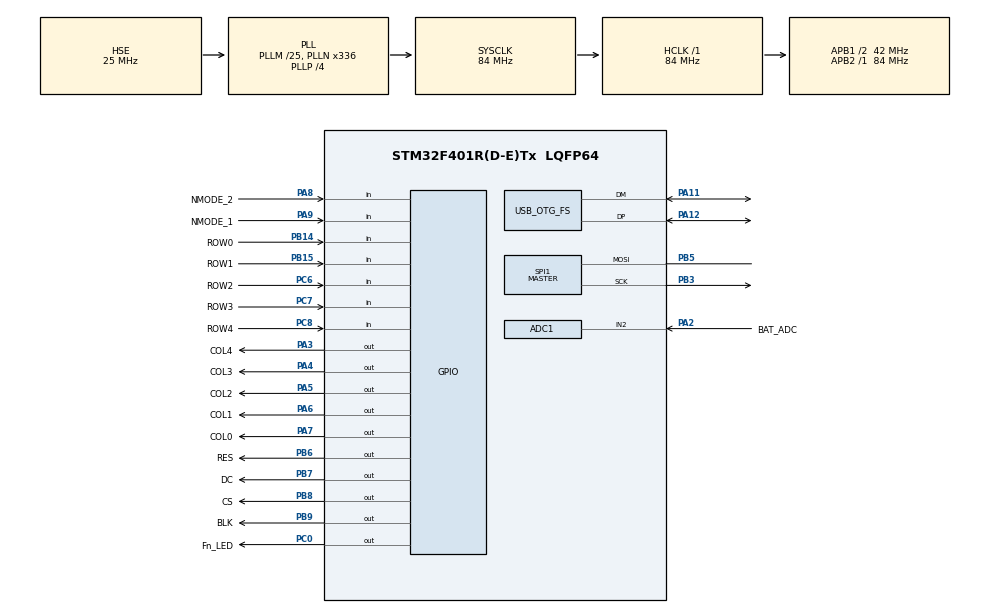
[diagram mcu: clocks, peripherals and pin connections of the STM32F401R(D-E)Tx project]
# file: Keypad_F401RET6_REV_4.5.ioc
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ADC1.Channel-0\#ChannelRegularConversion=ADC_CHANNEL_2
ADC1.NbrOfConversionFlag=1
ADC1.Rank-0\#ChannelRegularConversion=1
ADC1.SamplingTime-0\#ChannelRegularConversion=ADC_SAMPLETIME_3CYCLES
ADC1.master=1
Mcu.Family=STM32F4
Mcu.Name=STM32F401R(D-E)Tx
Mcu.Package=LQFP64
NVIC.OTG_FS_IRQn=true\:0\:0\:false\:false\:true\:false\:true\:true
NVIC.PriorityGroup=NVIC_PRIORITYGROUP_4
NVIC.TIM2_IRQn=true\:0\:0\:false\:false\:true\:true\:true\:true
PA11.Mode=Device_Only
PA11.Signal=USB_OTG_FS_DM
PA12.Mode=Device_Only
PA12.Signal=USB_OTG_FS_DP
PA13.Mode=Serial_Wire
PA13.Signal=SYS_JTMS-SWDIO
PA14.Mode=Serial_Wire
PA14.Signal=SYS_JTCK-SWCLK
PA2.GPIO_Label=BAT_ADC
PA2.Signal=ADCx_IN2
PA3.GPIO_Label=COL4
PA3.Signal=GPIO_Output
PA4.GPIO_Label=COL3
PA4.Signal=GPIO_Output
PA5.GPIO_Label=COL2
PA5.Signal=GPIO_Output
PA6.GPIO_Label=COL1
PA6.Signal=GPIO_Output
PA7.GPIO_Label=COL0
PA7.Signal=GPIO_Output
PA8.GPIO_Label=NMODE_2
PA8.GPIO_PuPd=GPIO_PULLUP
PA8.Signal=GPIO_Input
PA9.GPIO_Label=NMODE_1
PA9.GPIO_PuPd=GPIO_PULLUP
PA9.Signal=GPIO_Input
PB14.GPIO_Label=ROW0
PB14.GPIO_PuPd=GPIO_PULLUP
PB14.Signal=GPIO_Input
PB15.GPIO_Label=ROW1
PB15.GPIO_PuPd=GPIO_PULLUP
PB15.Signal=GPIO_Input
PB3.Mode=Simplex_Bidirectional_Master
PB3.Signal=SPI1_SCK
PB5.Mode=Simplex_Bidirectional_Master
PB5.Signal=SPI1_MOSI
PB6.GPIO_Label=RES
PB6.Signal=GPIO_Output
PB7.GPIO_Label=DC
PB7.Signal=GPIO_Output
PB8.GPIO_Label=CS
PB8.Signal=GPIO_Output
PB9.GPIO_Label=BLK
PB9.Signal=GPIO_Output
PC0.GPIO_Label=Fn_LED
PC0.Signal=GPIO_Output
PC6.GPIO_Label=ROW2
PC6.GPIO_PuPd=GPIO_PULLUP
PC6.Signal=GPIO_Input
PC7.GPIO_Label=ROW3
PC7.GPIO_PuPd=GPIO_PULLUP
PC7.Signal=GPIO_Input
PC8.GPIO_Label=ROW4
PC8.GPIO_PuPd=GPIO_PULLUP
PC8.Signal=GPIO_Input
PH0\ -\ OSC_IN.Mode=HSE-External-Oscillator
PH0\ -\ OSC_IN.Signal=RCC_OSC_IN
PH1\ -\ OSC_OUT.Mode=HSE-External-Oscillator
PH1\ -\ OSC_OUT.Signal=RCC_OSC_OUT
ProjectManager.HeapSize=0x200
ProjectManager.StackSize=0x400
ProjectManager.TargetToolchain=STM32CubeIDE
RCC.48MHZClocksFreq_Value=48000000
RCC.AHBFreq_Value=84000000
RCC.APB1CLKDivider=RCC_HCLK_DIV2
RCC.APB1Freq_Value=42000000
RCC.APB1TimFreq_Value=84000000
RCC.APB2Freq_Value=84000000
RCC.APB2TimFreq_Value=84000000
RCC.CortexFreq_Value=84000000
RCC.HCLKFreq_Value=84000000
RCC.HSE_VALUE=25000000
RCC.HSI_VALUE=16000000
RCC.LSE_VALUE=32768
RCC.PLLM=25
RCC.PLLN=336
RCC.PLLP=RCC_PLLP_DIV4
RCC.PLLQ=7
RCC.SYSCLKFreq_VALUE=84000000
RCC.SYSCLKSource=RCC_SYSCLKSOURCE_PLLCLK
RCC.VCOOutputFreq_Value=336000000
SH.ADCx_IN2.0=ADC1_IN2,IN2
SPI1.BaudRatePrescaler=SPI_BAUDRATEPRESCALER_4
SPI1.CLKPolarity=SPI_POLARITY_HIGH
SPI1.Direction=SPI_DIRECTION_1LINE
SPI1.Mode=SPI_MODE_MASTER
SPI1.VirtualType=VM_MASTER
TIM2.Period=599999
TIM2.Prescaler=8399
USB_DEVICE.CLASS_NAME_FS=HID
USB_DEVICE.VirtualMode-HID_FS=Hid
USB_DEVICE.VirtualModeFS=Hid_FS
USB_OTG_FS.VirtualMode=Device_Only
VP_TIM2_VS_ClockSourceINT.Mode=Internal
VP_USB_DEVICE_VS_USB_DEVICE_HID_FS.Mode=HID_FS
board=custom

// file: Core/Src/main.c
/* USER CODE BEGIN Header */
/**
  ******************************************************************************
  * @file           : main.c
  * @brief          : Main program body
  ******************************************************************************
  * @attention
  *
  * Copyright (c) 2024 STMicroelectronics.
  * All rights reserved.
  *
  * This software is licensed under terms that can be found in the LICENSE file
  * in the root directory of this software component.
  * If no LICENSE file comes with this software, it is provided AS-IS.
  *
  ******************************************************************************
  */
/* USER CODE END Header */
#include "main.h"
#include "usb_device.h"

/* USER CODE BEGIN Includes */
#include "usbd_hid.h"
#include "keypadMode.h"
#include "readKeypad.h"
#include "hidKeypad.h"
#include "st7789.h"
#include "calculator.h"
#include "readBattery.h"

/* USER CODE END Includes */

/* USER CODE BEGIN PD */
//#define MAX_LCD_ROW_LENGTH 15
#define MAX_BUFFER_SIZE 74	//4 Line

/* USER CODE END PD */

ADC_HandleTypeDef hadc1;

SPI_HandleTypeDef hspi1;

TIM_HandleTypeDef htim2;

/* USER CODE BEGIN PV */
uint8_t mode1Key;
uint8_t nCursor = 0;
uint8_t prevMode = 0;
int fnMode = 0;
char mode2Key = 0;
char buffer[MAX_BUFFER_SIZE + 1] = "";
char caInput[MAX_BUFFER_SIZE + 1];

/* USER CODE END PV */

void SystemClock_Config(void);
static void MX_GPIO_Init(void);
static void MX_SPI1_Init(void);
static void MX_ADC1_Init(void);
static void MX_TIM2_Init(void);

int main(void)
{

  /* MCU Configuration--------------------------------------------------------*/

  /* Reset of all peripherals, Initializes the Flash interface and the Systick. */
  HAL_Init();

  /* Configure the system clock */
  SystemClock_Config();

  /* Initialize all configured peripherals */
  MX_GPIO_Init();
  MX_SPI1_Init();
  MX_USB_DEVICE_Init();
  MX_ADC1_Init();
  MX_TIM2_Init();
  /* USER CODE BEGIN 2 */
  ST7789_Init();
  HAL_TIM_Base_Start_IT(&htim2);

  /* USER CODE END 2 */

  /* Infinite loop */
  /* USER CODE BEGIN WHILE */
  while (1)
  {
	  int curMode = keypadMode_read();

	  if (curMode != prevMode)
	  {
		  if((prevMode == 2 )&& (curMode == 1))
		  {
			  HAL_GPIO_WritePin(BLK_PORT, BLK_PIN, GPIO_PIN_RESET);
		  }

		  ST7789_Fill_Color(BLACK);
		  prevMode = curMode;
		  buffer[0] = '\0';
		  nCursor = 0;
		  fnMode = 0;
		  printBattery();
	  }

	  if(fnMode == 0)
		  ST7789_WriteString(250, 5, "  ", Font_7x10, BLACK, BLACK);
	  else
		  ST7789_WriteString(250, 5, "Fn", Font_7x10, GREEN, BLACK);

	  if (curMode == 1)	//Mode1 (Keypad)
	  {
		  HAL_GPIO_WritePin(BLK_PORT, BLK_PIN, GPIO_PIN_RESET);

		  mode1Key = readKeypad_run ();

		  if (mode1Key != 0x01)
		  {
			  hidKeypad_sandKey(mode1Key);
		  }
	  }
	  else if (curMode == 2)	//Mode_2 (Calculator)
	  {
		  HAL_GPIO_WritePin(BLK_PORT, BLK_PIN, GPIO_PIN_SET);

		  ST7789_WriteString(10, 20, ">>", Font_16x26, WHITE, BLACK);

		  mode2Key = readKeypad_run();

		  if (mode2Key != 0xFF)
		  {
			  if (mode2Key == 'B') // Backspace
			  {
			      if (nCursor > 0)
			      {
			          nCursor--;

			          if (nCursor < 16)
			          {
			              ST7789_WriteString(50 + nCursor * 16, 20, " ", Font_16x26, BLACK, BLACK);
			          }
			          else if (16 <= nCursor && nCursor < 35)
			          {
			              ST7789_WriteString((nCursor - 16) * 16, 46, " ", Font_16x26, BLACK, BLACK);
			          }
			          else if (35 <= nCursor && nCursor < 54)
			          {
			              ST7789_WriteString((nCursor - 35) * 16, 72, " ", Font_16x26, BLACK, BLACK);
			          }
			          else if (54 <= nCursor && nCursor < 73)
			          {
			              ST7789_WriteString((nCursor - 54) * 16, 96, " ", Font_16x26, BLACK, BLACK);
			          }

			          buffer[nCursor] = '\0';
			      }
			  }
			  else if (mode2Key == 'E')		//Esc
			  {
				  ST7789_Fill_Color(BLACK);
				  HAL_Delay(100);
				  buffer[0] = '\0';
				  nCursor = 0;
				  printBattery();
			  }
			  else if (mode2Key == '=')
			  {
				  memcpy(caInput, buffer, sizeof(buffer));

				  calculator_run(caInput);

				  ST7789_WriteString(10, 130, "=", Font_16x26, WHITE, BLACK);
				  ST7789_WriteString(35, 130, caInput, Font_16x26, WHITE, BLACK);
			  }
			  else if ((fnMode == 0)&&((mode2Key == '/')||(mode2Key == '*')||(mode2Key == '-')))	//Fn=0 -> /, *, -
			  {
				  if (nCursor < MAX_BUFFER_SIZE - 1)
			      {
					  buffer[nCursor++] = mode2Key;
			          buffer[nCursor] = '\0';
			      }
			  }
			  else if ((fnMode == 1)&&((mode2Key == '/')||(mode2Key == '*')||(mode2Key == '-')))	//Fn=1 -> tri
			  {
				  if (nCursor < MAX_BUFFER_SIZE - 4)
				  {
					  if (mode2Key == '/')
				      {
						  buffer[nCursor++] = 's';
				          buffer[nCursor++] = 'i';
				          buffer[nCursor++] = 'n';
				      }
				      else if (mode2Key == '*')
				      {
				          buffer[nCursor++] = 'c';
				          buffer[nCursor++] = 'o';
				          buffer[nCursor++] = 's';
				      }
				      else if (mode2Key == '-')
				      {
				          buffer[nCursor++] = 't';
				          buffer[nCursor++] = 'a';
				          buffer[nCursor++] = 'n';
				      }
				      buffer[nCursor] = '\0';
				  }
			  }
			  else if (mode2Key == 'F')		//Fn
			  {
				  fnMode = !fnMode;
			  }
			  else if (mode2Key == 'R')		//Rev
			  {
			  }
			  else
			  {
				  if (nCursor < MAX_BUFFER_SIZE - 1)
			      {
					  buffer[nCursor++] = mode2Key;
			          buffer[nCursor] = '\0';
			      }
			  }

			  ST7789_WriteString(50, 20, buffer, Font_16x26, WHITE, BLACK);
		  }
	  }
	  else
	  {
		  HAL_GPIO_WritePin(BLK_PORT, BLK_PIN, GPIO_PIN_RESET);
	  }

    /* USER CODE END WHILE */

  }
}

void SystemClock_Config(void)
{
  RCC_OscInitTypeDef RCC_OscInitStruct = {0};
  RCC_ClkInitTypeDef RCC_ClkInitStruct = {0};

  /** Configure the main internal regulator output voltage
  */
  __HAL_RCC_PWR_CLK_ENABLE();
  __HAL_PWR_VOLTAGESCALING_CONFIG(PWR_REGULATOR_VOLTAGE_SCALE2);

  /** Initializes the RCC Oscillators according to the specified parameters
  * in the RCC_OscInitTypeDef structure.
  */
  RCC_OscInitStruct.OscillatorType = RCC_OSCILLATORTYPE_HSE;
  RCC_OscInitStruct.HSEState = RCC_HSE_ON;
  RCC_OscInitStruct.PLL.PLLState = RCC_PLL_ON;
  RCC_OscInitStruct.PLL.PLLSource = RCC_PLLSOURCE_HSE;
  RCC_OscInitStruct.PLL.PLLM = 25;
  RCC_OscInitStruct.PLL.PLLN = 336;
  RCC_OscInitStruct.PLL.PLLP = RCC_PLLP_DIV4;
  RCC_OscInitStruct.PLL.PLLQ = 7;
  if (HAL_RCC_OscConfig(&RCC_OscInitStruct) != HAL_OK)
  {
    Error_Handler();
  }

  /** Initializes the CPU, AHB and APB buses clocks
  */
  RCC_ClkInitStruct.ClockType = RCC_CLOCKTYPE_HCLK|RCC_CLOCKTYPE_SYSCLK
                              |RCC_CLOCKTYPE_PCLK1|RCC_CLOCKTYPE_PCLK2;
  RCC_ClkInitStruct.SYSCLKSource = RCC_SYSCLKSOURCE_PLLCLK;
  RCC_ClkInitStruct.AHBCLKDivider = RCC_SYSCLK_DIV1;
  RCC_ClkInitStruct.APB1CLKDivider = RCC_HCLK_DIV2;
  RCC_ClkInitStruct.APB2CLKDivider = RCC_HCLK_DIV1;

  if (HAL_RCC_ClockConfig(&RCC_ClkInitStruct, FLASH_LATENCY_2) != HAL_OK)
  {
    Error_Handler();
  }
}

static void MX_ADC1_Init(void)
{

  ADC_ChannelConfTypeDef sConfig = {0};

  /** Configure the global features of the ADC (Clock, Resolution, Data Alignment and number of conversion)
  */
  hadc1.Instance = ADC1;
  hadc1.Init.ClockPrescaler = ADC_CLOCK_SYNC_PCLK_DIV4;
  hadc1.Init.Resolution = ADC_RESOLUTION_12B;
  hadc1.Init.ScanConvMode = DISABLE;
  hadc1.Init.ContinuousConvMode = DISABLE;
  hadc1.Init.DiscontinuousConvMode = DISABLE;
  hadc1.Init.ExternalTrigConvEdge = ADC_EXTERNALTRIGCONVEDGE_NONE;
  hadc1.Init.ExternalTrigConv = ADC_SOFTWARE_START;
  hadc1.Init.DataAlign = ADC_DATAALIGN_RIGHT;
  hadc1.Init.NbrOfConversion = 1;
  hadc1.Init.DMAContinuousRequests = DISABLE;
  hadc1.Init.EOCSelection = ADC_EOC_SINGLE_CONV;
  if (HAL_ADC_Init(&hadc1) != HAL_OK)
  {
    Error_Handler();
  }

  /** Configure for the selected ADC regular channel its corresponding rank in the sequencer and its sample time.
  */
  sConfig.Channel = ADC_CHANNEL_2;
  sConfig.Rank = 1;
  sConfig.SamplingTime = ADC_SAMPLETIME_3CYCLES;
  if (HAL_ADC_ConfigChannel(&hadc1, &sConfig) != HAL_OK)
  {
    Error_Handler();
  }

}

static void MX_SPI1_Init(void)
{

  /* SPI1 parameter configuration*/
  hspi1.Instance = SPI1;
  hspi1.Init.Mode = SPI_MODE_MASTER;
  hspi1.Init.Direction = SPI_DIRECTION_1LINE;
  hspi1.Init.DataSize = SPI_DATASIZE_8BIT;
  hspi1.Init.CLKPolarity = SPI_POLARITY_HIGH;
  hspi1.Init.CLKPhase = SPI_PHASE_1EDGE;
  hspi1.Init.NSS = SPI_NSS_SOFT;
  hspi1.Init.BaudRatePrescaler = SPI_BAUDRATEPRESCALER_4;
  hspi1.Init.FirstBit = SPI_FIRSTBIT_MSB;
  hspi1.Init.TIMode = SPI_TIMODE_DISABLE;
  hspi1.Init.CRCCalculation = SPI_CRCCALCULATION_DISABLE;
  hspi1.Init.CRCPolynomial = 10;
  if (HAL_SPI_Init(&hspi1) != HAL_OK)
  {
    Error_Handler();
  }

}

static void MX_TIM2_Init(void)
{

  TIM_ClockConfigTypeDef sClockSourceConfig = {0};
  TIM_MasterConfigTypeDef sMasterConfig = {0};

  htim2.Instance = TIM2;
  htim2.Init.Prescaler = 8399;
  htim2.Init.CounterMode = TIM_COUNTERMODE_UP;
  htim2.Init.Period = 599999;
  htim2.Init.ClockDivision = TIM_CLOCKDIVISION_DIV1;
  htim2.Init.AutoReloadPreload = TIM_AUTORELOAD_PRELOAD_DISABLE;
  if (HAL_TIM_Base_Init(&htim2) != HAL_OK)
  {
    Error_Handler();
  }
  sClockSourceConfig.ClockSource = TIM_CLOCKSOURCE_INTERNAL;
  if (HAL_TIM_ConfigClockSource(&htim2, &sClockSourceConfig) != HAL_OK)
  {
    Error_Handler();
  }
  sMasterConfig.MasterOutputTrigger = TIM_TRGO_RESET;
  sMasterConfig.MasterSlaveMode = TIM_MASTERSLAVEMODE_DISABLE;
  if (HAL_TIMEx_MasterConfigSynchronization(&htim2, &sMasterConfig) != HAL_OK)
  {
    Error_Handler();
  }

}

static void MX_GPIO_Init(void)
{
  GPIO_InitTypeDef GPIO_InitStruct = {0};

  /* GPIO Ports Clock Enable */
  __HAL_RCC_GPIOH_CLK_ENABLE();
  __HAL_RCC_GPIOC_CLK_ENABLE();
  __HAL_RCC_GPIOA_CLK_ENABLE();
  __HAL_RCC_GPIOB_CLK_ENABLE();

  /*Configure GPIO pin Output Level */
  HAL_GPIO_WritePin(Fn_LED_GPIO_Port, Fn_LED_Pin, GPIO_PIN_RESET);

  /*Configure GPIO pin Output Level */
  HAL_GPIO_WritePin(GPIOA, COL4_Pin|COL3_Pin|COL2_Pin|COL1_Pin
                          |COL0_Pin, GPIO_PIN_RESET);

  /*Configure GPIO pin Output Level */
  HAL_GPIO_WritePin(GPIOB, RES_Pin|DC_Pin|CS_Pin|BLK_Pin, GPIO_PIN_RESET);

  /*Configure GPIO pin : Fn_LED_Pin */
  GPIO_InitStruct.Pin = Fn_LED_Pin;
  GPIO_InitStruct.Mode = GPIO_MODE_OUTPUT_PP;
  GPIO_InitStruct.Pull = GPIO_NOPULL;
  GPIO_InitStruct.Speed = GPIO_SPEED_FREQ_LOW;
  HAL_GPIO_Init(Fn_LED_GPIO_Port, &GPIO_InitStruct);

  /*Configure GPIO pins : COL4_Pin COL3_Pin COL2_Pin COL1_Pin
                           COL0_Pin */
  GPIO_InitStruct.Pin = COL4_Pin|COL3_Pin|COL2_Pin|COL1_Pin
                          |COL0_Pin;
  GPIO_InitStruct.Mode = GPIO_MODE_OUTPUT_PP;
  GPIO_InitStruct.Pull = GPIO_NOPULL;
  GPIO_InitStruct.Speed = GPIO_SPEED_FREQ_LOW;
  HAL_GPIO_Init(GPIOA, &GPIO_InitStruct);

  /*Configure GPIO pins : ROW0_Pin ROW1_Pin */
  GPIO_InitStruct.Pin = ROW0_Pin|ROW1_Pin;
  GPIO_InitStruct.Mode = GPIO_MODE_INPUT;
  GPIO_InitStruct.Pull = GPIO_PULLUP;
  HAL_GPIO_Init(GPIOB, &GPIO_InitStruct);

  /*Configure GPIO pins : ROW2_Pin ROW3_Pin ROW4_Pin */
  GPIO_InitStruct.Pin = ROW2_Pin|ROW3_Pin|ROW4_Pin;
  GPIO_InitStruct.Mode = GPIO_MODE_INPUT;
  GPIO_InitStruct.Pull = GPIO_PULLUP;
  HAL_GPIO_Init(GPIOC, &GPIO_InitStruct);

  /*Configure GPIO pins : NMODE_2_Pin NMODE_1_Pin */
  GPIO_InitStruct.Pin = NMODE_2_Pin|NMODE_1_Pin;
  GPIO_InitStruct.Mode = GPIO_MODE_INPUT;
  GPIO_InitStruct.Pull = GPIO_PULLUP;
  HAL_GPIO_Init(GPIOA, &GPIO_InitStruct);

  /*Configure GPIO pins : RES_Pin DC_Pin CS_Pin BLK_Pin */
  GPIO_InitStruct.Pin = RES_Pin|DC_Pin|CS_Pin|BLK_Pin;
  GPIO_InitStruct.Mode = GPIO_MODE_OUTPUT_PP;
  GPIO_InitStruct.Pull = GPIO_NOPULL;
  GPIO_InitStruct.Speed = GPIO_SPEED_FREQ_LOW;
  HAL_GPIO_Init(GPIOB, &GPIO_InitStruct);

}

void Error_Handler(void)
{
  __disable_irq();
  while (1)
  {
  }
}
